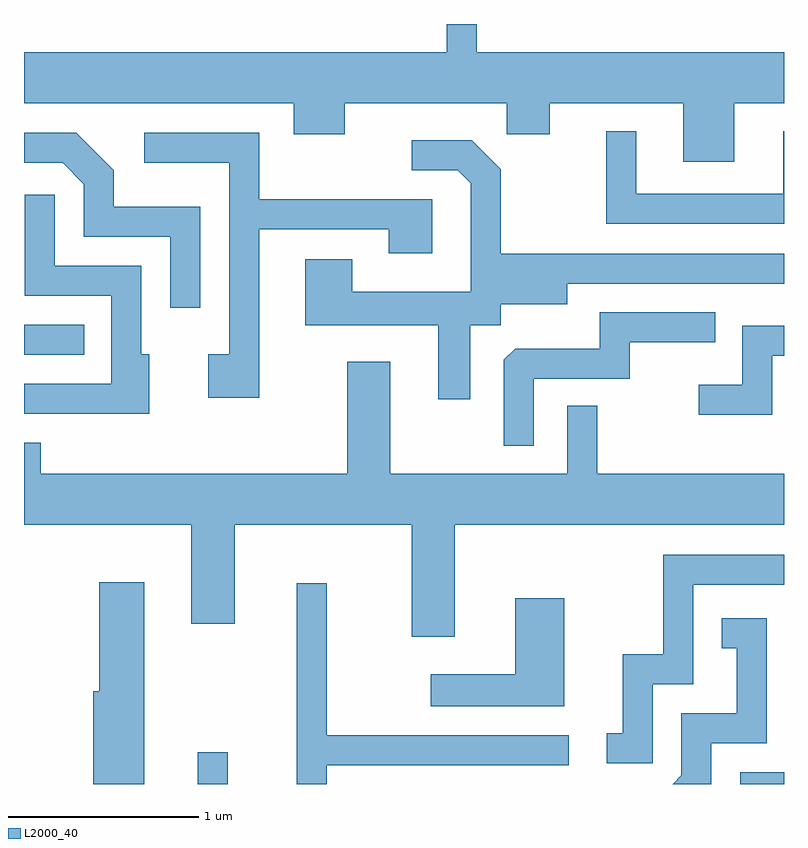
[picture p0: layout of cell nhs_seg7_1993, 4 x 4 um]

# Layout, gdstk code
import gdstk
lib = gdstk.Library(unit=1e-6, precision=1e-09)
def R(c, l, rs):  # rectangles x0, y0, x1, y1
    for r in rs: c.add(gdstk.rectangle(r[:2], r[2:], *l))
def P(c, l, *ps):  # polygons
    for p in ps: c.add(gdstk.Polygon(p, *l))
L2000_40 = (2000, 40)

nhs_seg7_1993 = lib.new_cell('nhs_seg7_1993')
R(nhs_seg7_1993, L2000_40, [(246.526,1746.252,246.684,1746.418), (249.381,1746.252,249.611,1746.314), (245.611,1748.511,245.928,1748.669)])
P(nhs_seg7_1993, L2000_40, [(247.994,1750.252),(247.836,1750.252),(247.836,1750.104),(245.611,1750.104),(245.611,1749.836),(247.031,1749.836),(247.031,1749.671),(247.299,1749.671),(247.299,1749.836),(248.151,1749.836),(248.151,1749.671),(248.379,1749.671),(248.379,1749.836),(249.081,1749.836),(249.081,1749.526),(249.349,1749.526),(249.349,1749.836),(249.611,1749.836),(249.611,1750.104),(247.994,1750.104)],
  [(249.611,1749.688),(249.606,1749.688),(249.606,1749.359),(248.834,1749.359),(248.834,1749.688),(248.676,1749.688),(248.676,1749.201),(249.611,1749.201)],
  [(246.849,1749.171),(247.531,1749.171),(247.531,1749.046),(247.759,1749.046),(247.759,1749.329),(246.849,1749.329),(246.849,1749.679),(246.243,1749.679),(246.243,1749.521),(246.691,1749.521),(246.691,1748.514),(246.581,1748.514),(246.581,1748.286),(246.849,1748.286)],
  [(246.539,1749.289),(246.084,1749.289),(246.084,1749.482),(245.887,1749.679),(245.611,1749.679),(245.611,1749.521),(245.814,1749.521),(245.926,1749.409),(245.926,1749.131),(246.381,1749.131),(246.381,1748.758),(246.539,1748.758)],
  [(247.959,1748.666),(248.119,1748.666),(248.119,1748.776),(248.469,1748.776),(248.469,1748.886),(249.611,1748.886),(249.611,1749.044),(248.119,1749.044),(248.119,1749.487),(247.967,1749.639),(247.653,1749.639),(247.653,1749.481),(247.894,1749.481),(247.961,1749.414),(247.961,1748.844),(247.339,1748.844),(247.339,1749.014),(247.091,1749.014),(247.091,1748.666),(247.791,1748.666),(247.791,1748.278),(247.959,1748.278)],
  [(246.269,1748.514),(246.229,1748.514),(246.229,1748.979),(245.774,1748.979),(245.774,1749.353),(245.616,1749.353),(245.616,1748.821),(246.071,1748.821),(246.071,1748.359),(245.611,1748.359),(245.611,1748.201),(246.269,1748.201)],
  [(248.294,1748.386),(248.799,1748.386),(248.799,1748.576),(249.248,1748.576),(249.248,1748.734),(248.641,1748.734),(248.641,1748.544),(248.197,1748.544),(248.136,1748.484),(248.136,1748.033),(248.294,1748.033)],
  [(249.549,1748.506),(249.611,1748.506),(249.611,1748.664),(249.391,1748.664),(249.391,1748.354),(249.163,1748.354),(249.163,1748.196),(249.549,1748.196)],
  [(247.651,1747.026),(247.879,1747.026),(247.879,1747.616),(249.611,1747.616),(249.611,1747.884),(248.629,1747.884),(248.629,1748.243),(248.471,1748.243),(248.471,1747.884),(247.539,1747.884),(247.539,1748.474),(247.311,1748.474),(247.311,1747.884),(245.699,1747.884),(245.699,1748.049),(245.611,1748.049),(245.611,1747.616),(246.491,1747.616),(246.491,1747.096),(246.719,1747.096),(246.719,1747.616),(247.651,1747.616)],
  [(248.919,1746.776),(249.134,1746.776),(249.134,1747.301),(249.611,1747.301),(249.611,1747.459),(248.976,1747.459),(248.976,1746.934),(248.761,1746.934),(248.761,1746.519),(248.678,1746.519),(248.678,1746.361),(248.919,1746.361)],
  [(246.244,1747.314),(246.006,1747.314),(246.006,1746.739),(245.976,1746.739),(245.976,1746.252),(246.244,1746.252)],
  [(247.204,1746.351),(248.478,1746.351),(248.478,1746.509),(247.204,1746.509),(247.204,1747.308),(247.046,1747.308),(247.046,1746.252),(247.204,1746.252)],
  [(248.454,1747.229),(248.196,1747.229),(248.196,1746.829),(247.753,1746.829),(247.753,1746.661),(248.454,1746.661)],
  [(249.229,1746.466),(249.519,1746.466),(249.519,1747.124),(249.283,1747.124),(249.283,1746.966),(249.361,1746.966),(249.361,1746.624),(249.071,1746.624),(249.071,1746.297),(249.026,1746.252),(249.229,1746.252)])

lib.write_gds('nhs_seg7_1993.gds')
